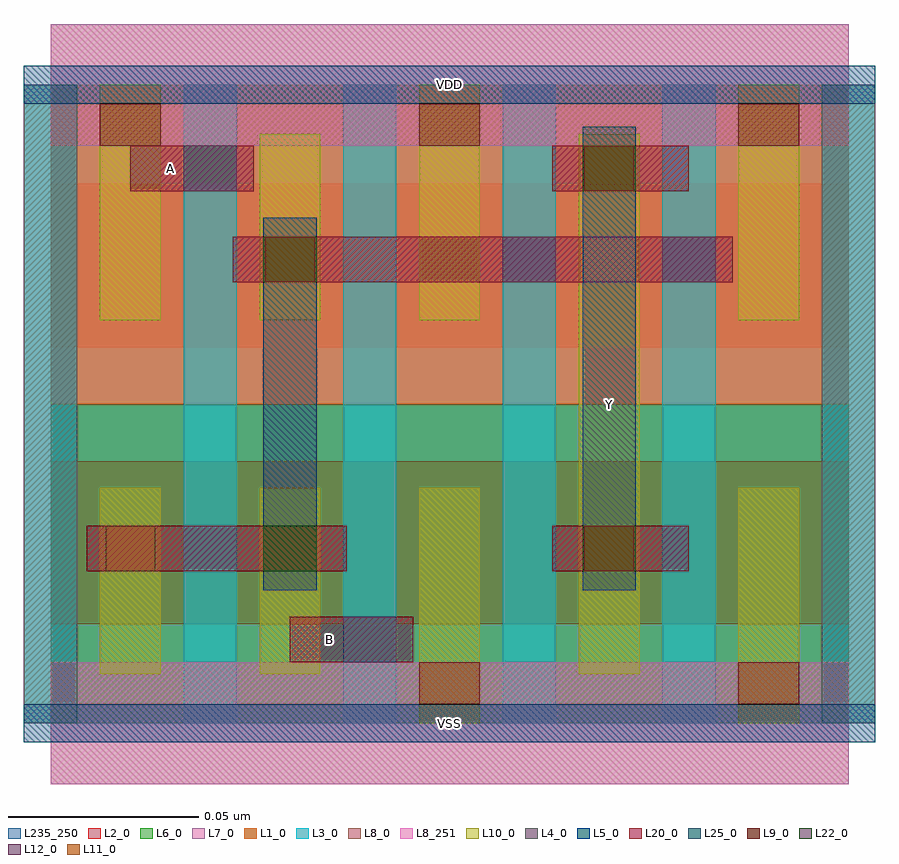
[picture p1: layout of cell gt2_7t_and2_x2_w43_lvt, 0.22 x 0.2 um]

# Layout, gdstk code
import gdstk
lib = gdstk.Library(unit=1e-6, precision=5e-10)
def R(c, l, rs):  # rectangles x0, y0, x1, y1
    for r in rs: c.add(gdstk.rectangle(r[:2], r[2:], *l))
def A(c, l, x, y, w, h, nx, ny, dx, dy):  # array of equal rectangles
    R(c, l, [(x+i*dx, y+j*dy, x+i*dx+w, y+j*dy+h) for i in range(nx) for j in range(ny)])
L1_0 = (1, 0)
L2_0 = (2, 0)
L3_0 = (3, 0)
L4_0 = (4, 0)
L5_0 = (5, 0)
L6_0 = (6, 0)
L7_0 = (7, 0)
L8_0 = (8, 0)
L8_251 = (8, 251)
L9_0 = (9, 0)
L10_0 = (10, 0)
L11_0 = (11, 0)
L12_0 = (12, 0)
L20_0 = (20, 0)
L22_0 = (22, 0)
L25_0 = (25, 0)
L235_250 = (235, 250)

gt2_7t_and2_x2_w43_lvt = lib.new_cell('gt2_7t_and2_x2_w43_lvt')
R(gt2_7t_and2_x2_w43_lvt, L1_0, [(0,0.084,0.21,0.168)])
R(gt2_7t_and2_x2_w43_lvt, L2_0, [(0,0.026,0.21,0.069), (0,0.099,0.21,0.142)])
A(gt2_7t_and2_x2_w43_lvt, L3_0, -0.007, 0, 0.014, 0.168, 6, 1, 0.042, 0)
R(gt2_7t_and2_x2_w43_lvt, L4_0, [(-0.007,0,0.007,0.168), (0.203,0,0.217,0.168)])
R(gt2_7t_and2_x2_w43_lvt, L5_0, [(-0.007,-0.005,0.217,0.005), (-0.007,0.163,0.217,0.173)])
R(gt2_7t_and2_x2_w43_lvt, L6_0, [(0,0,0.21,0.084)])
R(gt2_7t_and2_x2_w43_lvt, L7_0, [(0,0.084,0.21,0.168)])
R(gt2_7t_and2_x2_w43_lvt, L8_0, [(0,-0.016,0.21,0.016), (0,0.152,0.21,0.184)])
R(gt2_7t_and2_x2_w43_lvt, L8_251, [(0,-0.016,0.21,0.016), (0,0.152,0.21,0.184)])
A(gt2_7t_and2_x2_w43_lvt, L9_0, 0.013, 0.152, 0.016, 0.011, 3, 1, 0.084, 0)
R(gt2_7t_and2_x2_w43_lvt, L9_0, [(0.097,0.005,0.113,0.016), (0.181,0.005,0.197,0.016)])
A(gt2_7t_and2_x2_w43_lvt, L10_0, 0.013, 0.106, 0.016, 0.062, 3, 1, 0.084, 0)
R(gt2_7t_and2_x2_w43_lvt, L10_0, [(0.097,0,0.113,0.062), (0.181,0,0.197,0.062), (0.013,0.013,0.029,0.062), (0.055,0.013,0.071,0.062), (0.139,0.013,0.155,0.155), (0.055,0.106,0.071,0.155)])
R(gt2_7t_and2_x2_w43_lvt, L11_0, [(0.0145,0.04,0.0275,0.052), (0.1405,0.04,0.1535,0.052), (0.0565,0.116,0.0695,0.128), (0.1405,0.14,0.1535,0.152)])
R(gt2_7t_and2_x2_w43_lvt, L12_0, [(0.077,0.016,0.091,0.028), (0.119,0.116,0.133,0.128), (0.161,0.116,0.175,0.128), (0.035,0.14,0.049,0.152)])
R(gt2_7t_and2_x2_w43_lvt, L20_0, [(0.063,0.016,0.0955,0.028), (0.0095,0.04,0.078,0.052), (0.132,0.04,0.168,0.052), (0.048,0.116,0.1795,0.128), (0.021,0.14,0.0535,0.152), (0.132,0.14,0.168,0.152)])
R(gt2_7t_and2_x2_w43_lvt, L22_0, [(0.056,0.04,0.07,0.052), (0.14,0.04,0.154,0.052), (0.056,0.116,0.07,0.128), (0.14,0.14,0.154,0.152)])
R(gt2_7t_and2_x2_w43_lvt, L25_0, [(0.056,0.035,0.07,0.133), (0.14,0.035,0.154,0.157)])
R(gt2_7t_and2_x2_w43_lvt, L235_250, [(0,0,0.21,0.168)])
gt2_7t_and2_x2_w43_lvt.add(gdstk.Label('VSS', (0.105,0), layer=8, texttype=251))
gt2_7t_and2_x2_w43_lvt.add(gdstk.Label('VDD', (0.105,0.168), layer=8, texttype=251))
gt2_7t_and2_x2_w43_lvt.add(gdstk.Label('B', (0.0735,0.022), layer=20, texttype=251))
gt2_7t_and2_x2_w43_lvt.add(gdstk.Label('A', (0.0315,0.146), layer=20, texttype=251))
gt2_7t_and2_x2_w43_lvt.add(gdstk.Label('Y', (0.147,0.084), layer=25, texttype=251))

lib.write_gds('gt2_7t_and2_x2_w43_lvt.gds')
